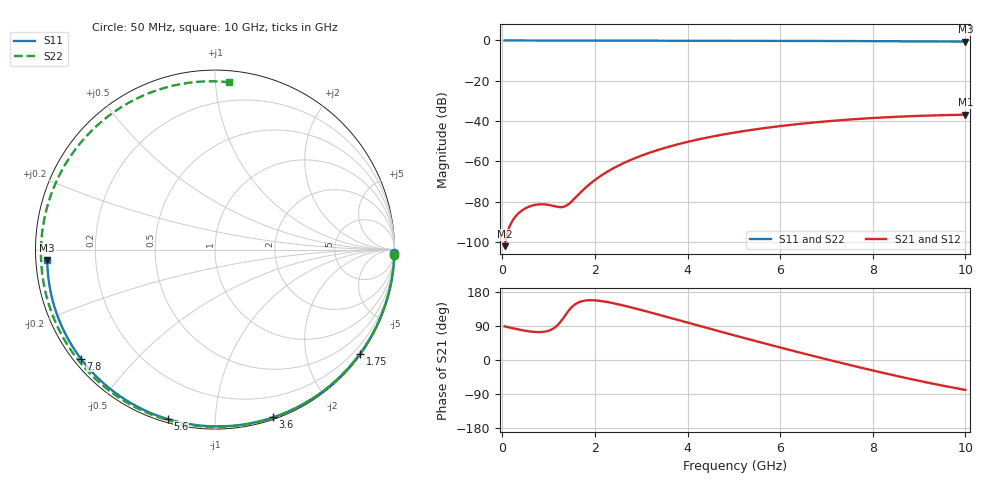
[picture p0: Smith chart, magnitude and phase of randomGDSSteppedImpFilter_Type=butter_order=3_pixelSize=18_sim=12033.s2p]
! freq	dB(S11)	phase(S11)	dB(S12)	phase(S12)
!  dB(S21)	phase(S21)	dB(S22)	phase(S22)
!S-par simulation data
#  GHz  S  DB  R 50
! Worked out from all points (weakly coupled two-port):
!   200 points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, 50 MHz to 10 GHz, reference 50 ohm
!   highest |S21| = -36.87 dB at 10 GHz (marker M1); lowest = -102.2 dB at 50 MHz (marker M2)
!   lowest |S11| = -0.6 dB at 10 GHz (marker M3), VSWR 30.56, Z = 1.64 - j1.59 ohm
!   |S11| at or under -10 dB: nowhere
!   |S22| runs from -0.6 to 0.0 dB; largest |S21 - S12| = 0
!   S11 on the Smith chart (normalised r, x): 50 MHz: open; 1.75 GHz: 0.03, -3.11; 3.6 GHz: 0.02, -1.41; 5.6 GHz: 0.02, -0.76; 7.8 GHz: 0.02, -0.35; 10 GHz: 0.03, -0.03
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0.05  -0.00 -1.0  -102.17 88.8  -102.17 88.8  -0.00 -1.9
0.35  -0.01 -7.2  -85.84 80.5  -85.84 80.5  -0.02 -12.8
0.7  -0.02 -14.4  -81.71 74.1  -81.71 74.1  -0.03 -25.4
1.1  -0.03 -22.6  -82.18 82.8  -82.18 82.8  -0.05 -39.6
1.5  -0.04 -30.6  -79.92 139.4  -79.92 139.4  -0.07 -53.3
1.75  -0.05 -35.6  -74.15 156.0  -74.15 156.0  -0.08 -61.6
2.05  -0.05 -41.5  -68.46 156.8  -68.46 156.8  -0.09 -71.3
2.45  -0.06 -49.3  -62.85 148.4  -62.85 148.4  -0.10 -83.7
2.9  -0.07 -57.9  -58.14 135.1  -58.14 135.1  -0.11 -97.0
3.4  -0.09 -67.2  -54.12 118.8  -54.12 118.8  -0.13 -111.0
3.6  -0.09 -70.9  -52.77 112.1  -52.77 112.1  -0.14 -116.4
4.35  -0.12 -84.3  -48.58 86.9  -48.58 86.9  -0.17 -135.7
5.05  -0.15 -96.4  -45.60 63.7  -45.60 63.7  -0.20 -152.7
5.6  -0.17 -105.6  -43.71 45.8  -43.71 45.8  -0.23 -165.7
6.15  -0.20 -114.6  -42.13 28.2  -42.13 28.2  -0.26 -178.5
6.7  -0.24 -123.5  -40.81 11.1  -40.81 11.1  -0.30 168.8
7.25  -0.28 -132.2  -39.70 -5.7  -39.70 -5.7  -0.34 155.9
7.8  -0.32 -140.9  -38.80 -21.9  -38.80 -21.9  -0.38 142.8
8.35  -0.38 -149.6  -38.09 -37.5  -38.09 -37.5  -0.43 129.3
9.2  -0.47 -163.2  -37.30 -60.0  -37.30 -60.0  -0.50 107.3
9.6  -0.52 -169.7  -37.06 -69.8  -37.06 -69.8  -0.54 96.4
10  -0.57 -176.4  -36.87 -78.9  -36.87 -78.9  -0.58 85.3
